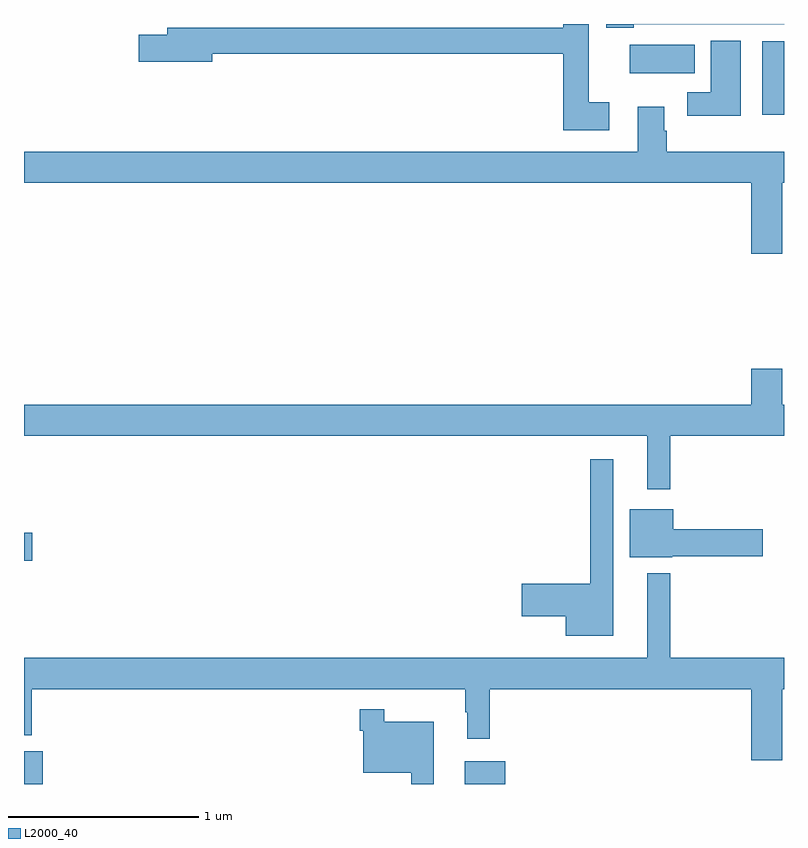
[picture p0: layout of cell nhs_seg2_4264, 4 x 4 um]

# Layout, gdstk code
import gdstk
lib = gdstk.Library(unit=1e-6, precision=1e-09)
def R(c, l, rs):  # rectangles x0, y0, x1, y1
    for r in rs: c.add(gdstk.rectangle(r[:2], r[2:], *l))
def P(c, l, *ps):  # polygons
    for p in ps: c.add(gdstk.Polygon(p, *l))
L2000_40 = (2000, 40)

nhs_seg2_4264 = lib.new_cell('nhs_seg2_4264')
R(nhs_seg2_4264, L2000_40, [(341,649.8,341.099,649.972), (343.319,649.8,343.534,649.921), (341,650.975,341.044,651.122), (344.885,653.322,345,653.71), (344.187,653.54,344.53,653.692)])
P(nhs_seg2_4264, L2000_40, [(344.08,653.388),(343.972,653.388),(343.972,653.8),(343.838,653.8),(343.838,653.78),(341.753,653.78),(341.753,653.744),(341.604,653.744),(341.604,653.602),(341.992,653.602),(341.992,653.644),(343.838,653.644),(343.838,653.24),(344.08,653.24)],
  [(344.208,653.798),(345,653.798),(345,653.8),(344.064,653.8),(344.064,653.78),(344.208,653.78)],
  [(344.773,653.713),(344.615,653.713),(344.615,653.44),(344.49,653.44),(344.49,653.318),(344.773,653.318)],
  [(344.992,652.964),(345,652.964),(345,653.128),(344.384,653.128),(344.384,653.238),(344.371,653.238),(344.371,653.365),(344.231,653.365),(344.231,653.128),(341,653.128),(341,652.964),(344.828,652.964),(344.828,652.59),(344.992,652.59)],
  [(344.401,651.632),(345,651.632),(345,651.796),(344.992,651.796),(344.992,651.985),(344.828,651.985),(344.828,651.796),(341,651.796),(341,651.632),(344.279,651.632),(344.279,651.351),(344.401,651.351)],
  [(344.101,651.508),(343.98,651.508),(343.98,650.855),(343.62,650.855),(343.62,650.684),(343.85,650.684),(343.85,650.579),(344.101,650.579)],
  [(344.412,650.999),(344.887,650.999),(344.887,651.141),(344.416,651.141),(344.416,651.247),(344.189,651.247),(344.189,650.993),(344.412,650.993)],
  [(344.992,650.3),(345,650.3),(345,650.464),(344.401,650.464),(344.401,650.908),(344.279,650.908),(344.279,650.464),(341,650.464),(341,650.057),(341.042,650.057),(341.042,650.3),(343.323,650.3),(343.323,650.177),(343.334,650.177),(343.334,650.037),(343.451,650.037),(343.451,650.3),(344.828,650.3),(344.828,649.926),(344.992,649.926)],
  [(343.156,650.128),(342.895,650.128),(342.895,650.194),(342.766,650.194),(342.766,650.081),(342.786,650.081),(342.786,649.859),(343.039,649.859),(343.039,649.8),(343.156,649.8)])

lib.write_gds('nhs_seg2_4264.gds')
